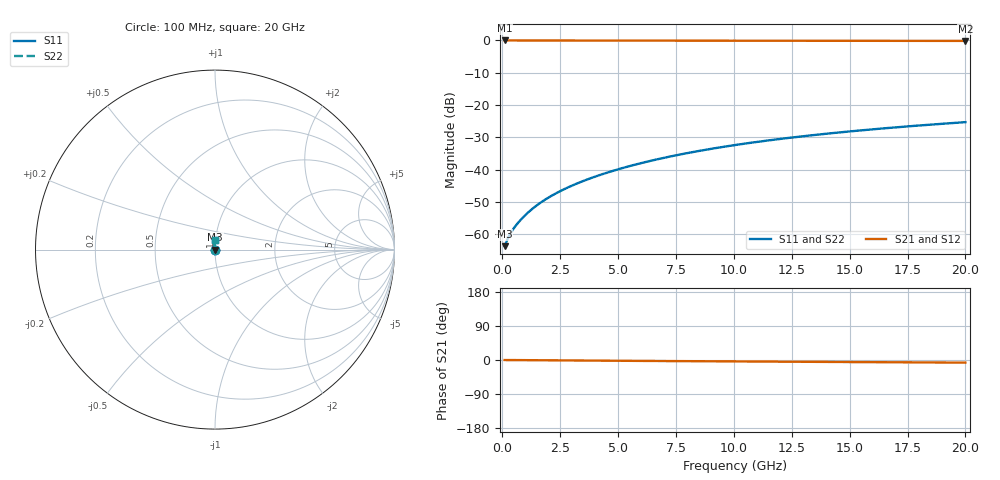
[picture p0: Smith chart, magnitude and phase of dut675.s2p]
! Touchstone file exported from HFSS 2024.1.0
!  File:  C:/UserFiles/LocalFiles/RDL_TSV_Batchsim/temp_RDL_top_675_1779782238.aedt
!  Generated:  03:59:13 PM May 26, 2026
!  Design:  RDL_top
!  Project:  temp_RDL_top_675_1779782238
!  Setup:  Setup1
!  Solution:  Sweep
! Variables:
!  dtsv = 10.80580581um
!  hbump = 3um
!  htsv = 74.92um
!  ldown = 100um
!  lrdl = 100.82um
!  p = 40
!  p1 = 40.9um
!  rhole = 1um
!  t = 450um
!  tdown = 3.915915916um
!  trdl = 3.56um
!  wdown = 15.38538539um
!  wrdl = 29.66um
# GHz S MA R 50.000000
! Terminal data exported
! Port[1] = Box2_T1
! Port[2] = Box2_T2
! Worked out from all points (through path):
!   200 points, 100 MHz to 20 GHz, reference 50 ohm
!   highest |S21| = -0.01 dB at 100 MHz (marker M1); lowest = -0.1 dB at 20 GHz (marker M2)
!   lowest |S11| = -63.7 dB at 100 MHz (marker M3), VSWR 1.00, Z = 50.1 + j0.0247 ohm
!   |S11| at or under -10 dB: start of sweep to end of sweep
!   |S22| runs from -63.7 to -25.3 dB; largest |S21 - S12| = 3.1e-15
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0.1  0.0006504 22.3  0.9994 -0.0  0.9994 -0.0  0.0006504 22.3
! Gamma 0 0 0 0
! Port Impedance 50 0 50 0
0.2  0.0007951 35.7  0.9993 -0.1  0.9993 -0.1  0.0007951 35.7
0.3  0.0009476 43.6  0.9993 -0.1  0.9993 -0.1  0.0009476 43.6
0.4  0.001093 49.2  0.9992 -0.2  0.9992 -0.2  0.001093 49.2
0.5  0.001236 53.8  0.9992 -0.2  0.9992 -0.2  0.001236 53.8
0.7  0.001524 61.2  0.9991 -0.3  0.9991 -0.3  0.001524 61.2
0.9  0.001825 66.9  0.9991 -0.4  0.9991 -0.4  0.001825 66.9
1.3  0.002468 74.9  0.9989 -0.5  0.9989 -0.5  0.002468 74.9
1.8  0.00333 81.4  0.9987 -0.8  0.9987 -0.8  0.00333 81.4
2.3  0.004248 85.8  0.9983 -1.0  0.9983 -1.0  0.004248 85.8
2.9  0.005417 89.6  0.9979 -1.2  0.9979 -1.2  0.005417 89.6
3.5  0.00666 92.3  0.9974 -1.4  0.9974 -1.4  0.006661 92.3
4.2  0.008203 94.7  0.9967 -1.7  0.9967 -1.7  0.008203 94.7
5  0.01008 96.6  0.9959 -2.0  0.9959 -2.0  0.01008 96.6
5.9  0.01233 97.9  0.9949 -2.4  0.9949 -2.4  0.01233 97.9
6.8  0.0147 98.7  0.9939 -2.7  0.9939 -2.7  0.0147 98.7
8.4  0.01916 99.1  0.9921 -3.2  0.9921 -3.2  0.01916 99.1
10.1  0.02411 98.7  0.9904 -3.8  0.9904 -3.8  0.02411 98.7
11.7  0.02891 97.9  0.989 -4.3  0.989 -4.3  0.02891 97.9
13.4  0.03407 96.9  0.9876 -4.9  0.9876 -4.9  0.03407 96.9
16.7  0.04416 94.8  0.9854 -5.9  0.9854 -5.9  0.04416 94.8
20  0.05422 92.6  0.9835 -7.0  0.9835 -7.0  0.05422 92.6
